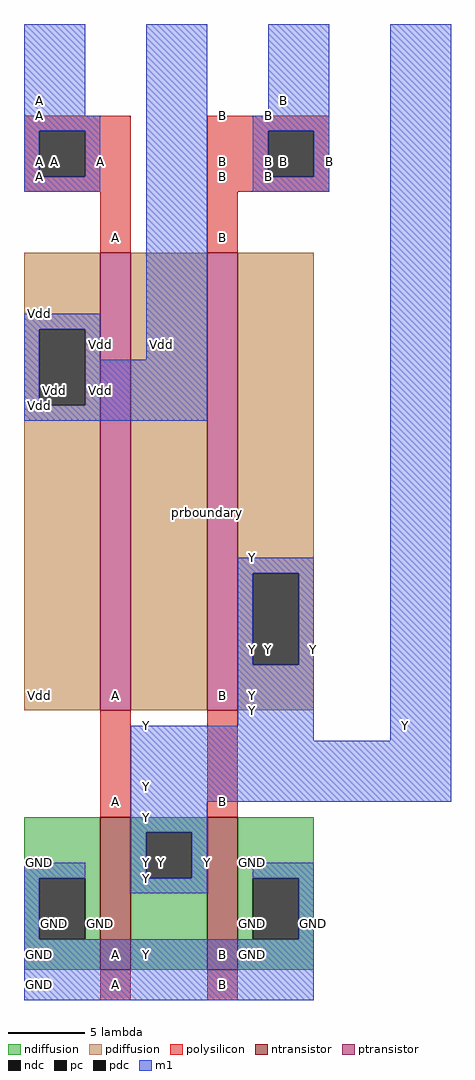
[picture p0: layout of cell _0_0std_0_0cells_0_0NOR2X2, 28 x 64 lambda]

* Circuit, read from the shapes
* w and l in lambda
.subckt _0_0std_0_0cells_0_0NOR2X2 Y B A
M1 Y A GND VSUBS nfet w=10 l=2
M2 GND B Y VSUBS nfet w=10 l=2
M3 n1 A Vdd NWELL pfet w=30 l=2
M4 Y B n1 NWELL pfet w=30 l=2
.ends

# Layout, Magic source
magic
tech sky130l
<< ndiffusion >>
rect 8 12 13 16
rect 8 8 9 12
rect 12 8 13 12
rect 8 6 13 8
rect 15 15 20 16
rect 15 12 16 15
rect 19 12 20 15
rect 15 6 20 12
rect 22 12 27 16
rect 22 8 23 12
rect 26 8 27 12
rect 22 6 27 8
<< ndc >>
rect 9 8 12 12
rect 16 12 19 15
rect 23 8 26 12
<< ntransistor >>
rect 13 6 15 16
rect 20 6 22 16
<< pdiffusion >>
rect 8 48 13 53
rect 8 43 9 48
rect 12 43 13 48
rect 8 23 13 43
rect 15 23 20 53
rect 22 32 27 53
rect 22 26 23 32
rect 26 26 27 32
rect 22 23 27 26
<< pdc >>
rect 9 43 12 48
rect 23 26 26 32
<< ptransistor >>
rect 13 23 15 53
rect 20 23 22 53
<< polysilicon >>
rect 8 61 15 62
rect 8 58 9 61
rect 12 58 15 61
rect 8 57 15 58
rect 13 53 15 57
rect 20 61 28 62
rect 20 58 24 61
rect 27 58 28 61
rect 20 57 28 58
rect 20 53 22 57
rect 13 16 15 23
rect 20 16 22 23
rect 13 4 15 6
rect 20 4 22 6
<< pc >>
rect 9 58 12 61
rect 24 58 27 61
<< m1 >>
rect 8 62 12 68
rect 8 61 13 62
rect 8 58 9 61
rect 12 58 13 61
rect 8 57 13 58
rect 8 48 13 49
rect 8 43 9 48
rect 12 46 13 48
rect 16 46 20 68
rect 24 62 28 68
rect 23 61 28 62
rect 23 58 24 61
rect 27 58 28 61
rect 23 57 28 58
rect 12 43 20 46
rect 8 42 20 43
rect 22 32 27 33
rect 22 26 23 32
rect 26 26 27 32
rect 22 22 27 26
rect 15 21 27 22
rect 32 21 36 68
rect 15 17 36 21
rect 15 15 20 17
rect 8 12 12 13
rect 8 8 9 12
rect 15 12 16 15
rect 19 12 20 15
rect 15 11 20 12
rect 23 12 27 13
rect 26 8 27 12
rect 8 4 27 8
<< labels >>
rlabel space 0 0 40 72 6 prboundary
rlabel ndiffusion 23 7 23 7 3 GND
rlabel ndiffusion 23 9 23 9 3 GND
rlabel ndiffusion 23 13 23 13 3 GND
rlabel pdiffusion 23 24 23 24 3 Y
rlabel polysilicon 21 5 21 5 3 B
rlabel ntransistor 21 7 21 7 3 B
rlabel polysilicon 21 17 21 17 3 B
rlabel ptransistor 21 24 21 24 3 B
rlabel polysilicon 21 54 21 54 3 B
rlabel polysilicon 21 58 21 58 3 B
rlabel polysilicon 21 59 21 59 3 B
rlabel polysilicon 21 62 21 62 3 B
rlabel ndiffusion 16 7 16 7 3 Y
rlabel ndiffusion 13 9 13 9 3 GND
rlabel polysilicon 14 5 14 5 3 A
rlabel ntransistor 14 7 14 7 3 A
rlabel polysilicon 14 17 14 17 3 A
rlabel ptransistor 14 24 14 24 3 A
rlabel polysilicon 14 54 14 54 3 A
rlabel ndiffusion 9 7 9 7 3 GND
rlabel pdiffusion 9 24 9 24 3 Vdd
rlabel m1 24 13 24 13 3 GND
rlabel m1 27 27 27 27 3 Y
port 1 e
rlabel m1 28 59 28 59 3 B
port 2 e
rlabel pdc 24 27 24 27 3 Y
port 1 e
rlabel pc 25 59 25 59 3 B
port 2 e
rlabel m1 25 63 25 63 3 B
port 2 e
rlabel m1 27 9 27 9 3 GND
rlabel m1 23 23 23 23 3 Y
port 1 e
rlabel m1 23 27 23 27 3 Y
port 1 e
rlabel m1 23 33 23 33 3 Y
port 1 e
rlabel m1 24 58 24 58 3 B
port 2 e
rlabel m1 24 59 24 59 3 B
port 2 e
rlabel m1 24 62 24 62 3 B
port 2 e
rlabel ndc 24 9 24 9 3 GND
rlabel m1 20 13 20 13 3 Y
port 1 e
rlabel m1 33 22 33 22 3 Y
port 1 e
rlabel ndc 17 13 17 13 3 Y
port 1 e
rlabel m1 17 47 17 47 3 Vdd
rlabel m1 16 12 16 12 3 Y
port 1 e
rlabel m1 16 13 16 13 3 Y
port 1 e
rlabel m1 16 16 16 16 3 Y
port 1 e
rlabel m1 16 18 16 18 3 Y
port 1 e
rlabel m1 16 22 16 22 3 Y
port 1 e
rlabel m1 13 44 13 44 3 Vdd
rlabel m1 13 47 13 47 3 Vdd
rlabel m1 13 59 13 59 3 A
port 3 e
rlabel ndc 10 9 10 9 3 GND
rlabel pdc 10 44 10 44 3 Vdd
rlabel pc 10 59 10 59 3 A
port 3 e
rlabel m1 9 5 9 5 3 GND
rlabel m1 9 9 9 9 3 GND
rlabel m1 9 13 9 13 3 GND
rlabel m1 9 43 9 43 3 Vdd
rlabel m1 9 44 9 44 3 Vdd
rlabel m1 9 49 9 49 3 Vdd
rlabel m1 9 58 9 58 3 A
port 3 e
rlabel m1 9 59 9 59 3 A
port 3 e
rlabel m1 9 62 9 62 3 A
port 3 e
rlabel m1 9 63 9 63 3 A
port 3 e
<< end >>
